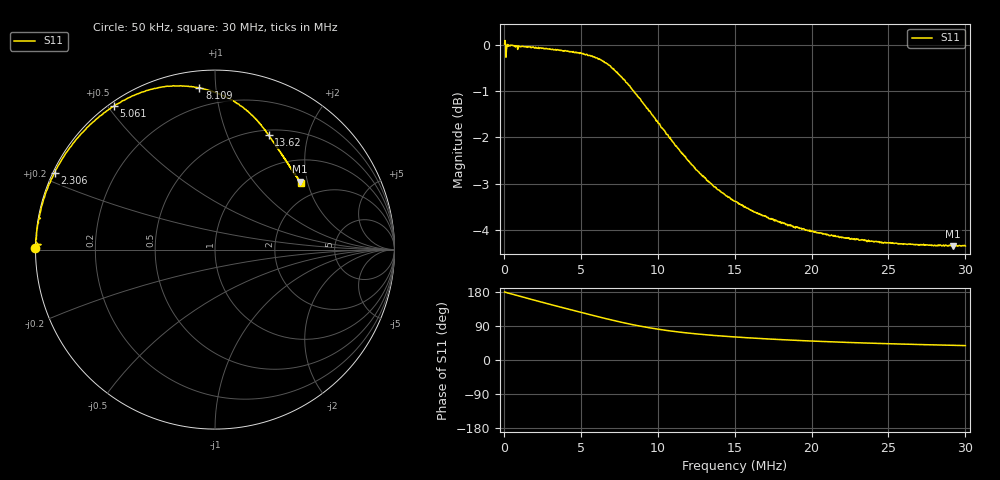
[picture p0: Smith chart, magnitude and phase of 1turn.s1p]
# HZ S RI R 50
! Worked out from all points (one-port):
!   1023 points, 50 kHz to 30 MHz, reference 50 ohm
!   lowest |S11| = -4.3 dB at 29.21 MHz (marker M1), VSWR 4.08, Z = 75.1 + j90 ohm
!   |S11| at or under -10 dB: nowhere
!   S11 on the Smith chart (normalised r, x): 50 kHz: -0.00, +0.00; 2.306 MHz: 0.01, +0.23; 5.061 MHz: 0.01, +0.52; 8.109 MHz: 0.09, +0.90; 13.62 MHz: 0.56, +1.42; 30 MHz: 1.54, +1.81
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50000  -1.002 0.00813
167220  -0.9859 0.03
577490  -0.9914 0.1141
1222200  -0.9673 0.2365
1778995  -0.9345 0.3366
2306485  -0.8928 0.4289
3039110  -0.8236 0.5464
3801040  -0.7353 0.6546
4504360  -0.6451 0.7416
5061155  -0.5644 0.799
5705865  -0.4669 0.8528
6350575  -0.3596 0.8921
6907370  -0.2689 0.9096
7552080  -0.1663 0.9106
8108875  -0.0865 0.9007
8724280  -0.00771 0.8788
9603430  0.0864 0.8371
1.042397e7  0.1548 0.7937
1.130312e7  0.2119 0.7438
1.229949e7  0.257 0.6942
1.361822e7  0.2996 0.6373
1.502486e7  0.3306 0.5916
1.722273e7  0.368 0.5349
1.87759e7  0.3896 0.5046
2.252694e7  0.4275 0.4452
2.627798e7  0.4556 0.405
2.920848e7  0.4733 0.3789
2.999971e7  0.4782 0.3733
